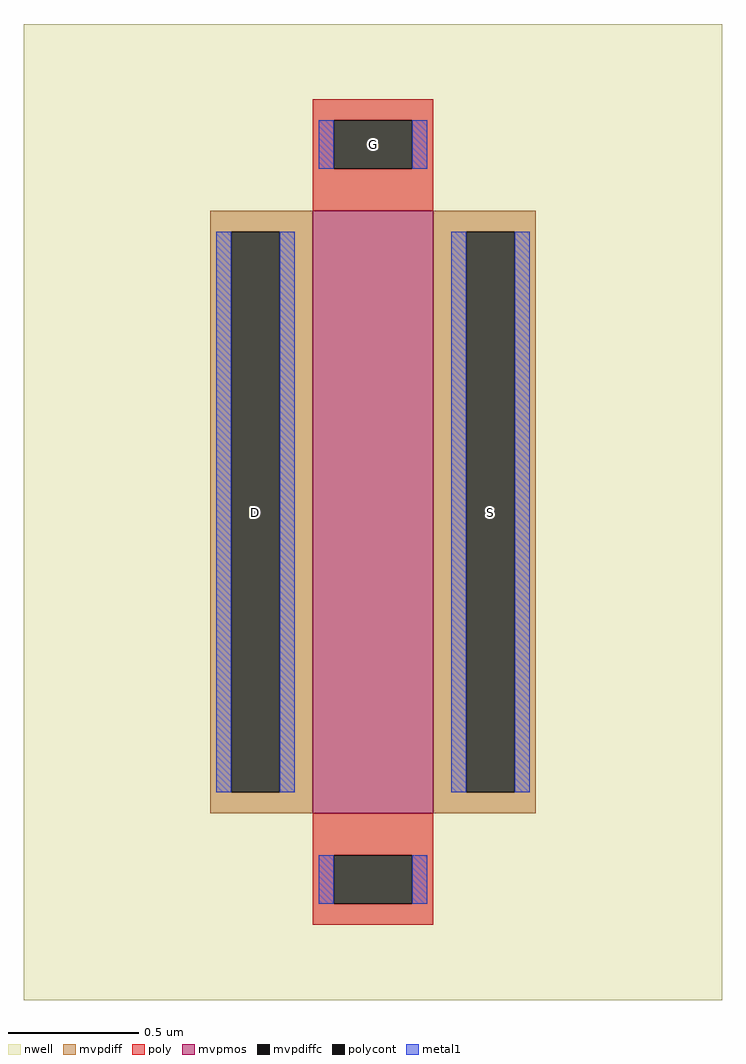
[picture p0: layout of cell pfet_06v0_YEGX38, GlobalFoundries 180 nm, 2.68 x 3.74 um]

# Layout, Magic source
magic
tech gf180mcuD
magscale 3 13
<< nwell >>
rect -116 -162 116 162
<< mvpmos >>
rect -20 -100 20 100
<< mvpdiff >>
rect -54 93 -20 100
rect -54 -93 -47 93
rect -31 -93 -20 93
rect -54 -100 -20 -93
rect 20 93 54 100
rect 20 -93 31 93
rect 47 -93 54 93
rect 20 -100 54 -93
<< mvpdiffc >>
rect -47 -93 -31 93
rect 31 -93 47 93
<< poly >>
rect -20 130 20 137
rect -20 114 -13 130
rect 13 114 20 130
rect -20 100 20 114
rect -20 -114 20 -100
rect -20 -130 -13 -114
rect 13 -130 20 -114
rect -20 -137 20 -130
<< polycont >>
rect -13 114 13 130
rect -13 -130 13 -114
<< metal1 >>
rect -18 114 -13 130
rect 13 114 18 130
rect -52 -93 -47 93
rect -31 -93 -26 93
rect 26 -93 31 93
rect 47 -93 52 93
rect -18 -130 -13 -114
rect 13 -130 18 -114
<< labels >>
rlabel mvpdiffc -39 0 -39 0 0 D
port 1 nsew
rlabel mvpdiffc 39 0 39 0 0 S
port 2 nsew
rlabel polycont 0 122 0 122 0 G
port 3 nsew
<< properties >>
string gencell pfet_05v0
string library gf180mcu
string parameters w 2.0 l 0.4 m 1 ng 1 diffcov 100 polycov 100 guard 0 glc 1 grc 1 gtc 1 gbc 1 tbcov 100 rlcov 100 topc 1 botc 1 poverlap 0 doverlap 1 lmin 0.4 wmin 0.15 class mosfet compatible {pfet_05v0 pfet_06v0} full_metal 1 conn_gates 0 gate_ring 0 ccols 1 viasrc 0 viadrn 0 viagate 0 viagb 0 viagr 0 viagl 0 viagt 0 doports 1
<< end >>
